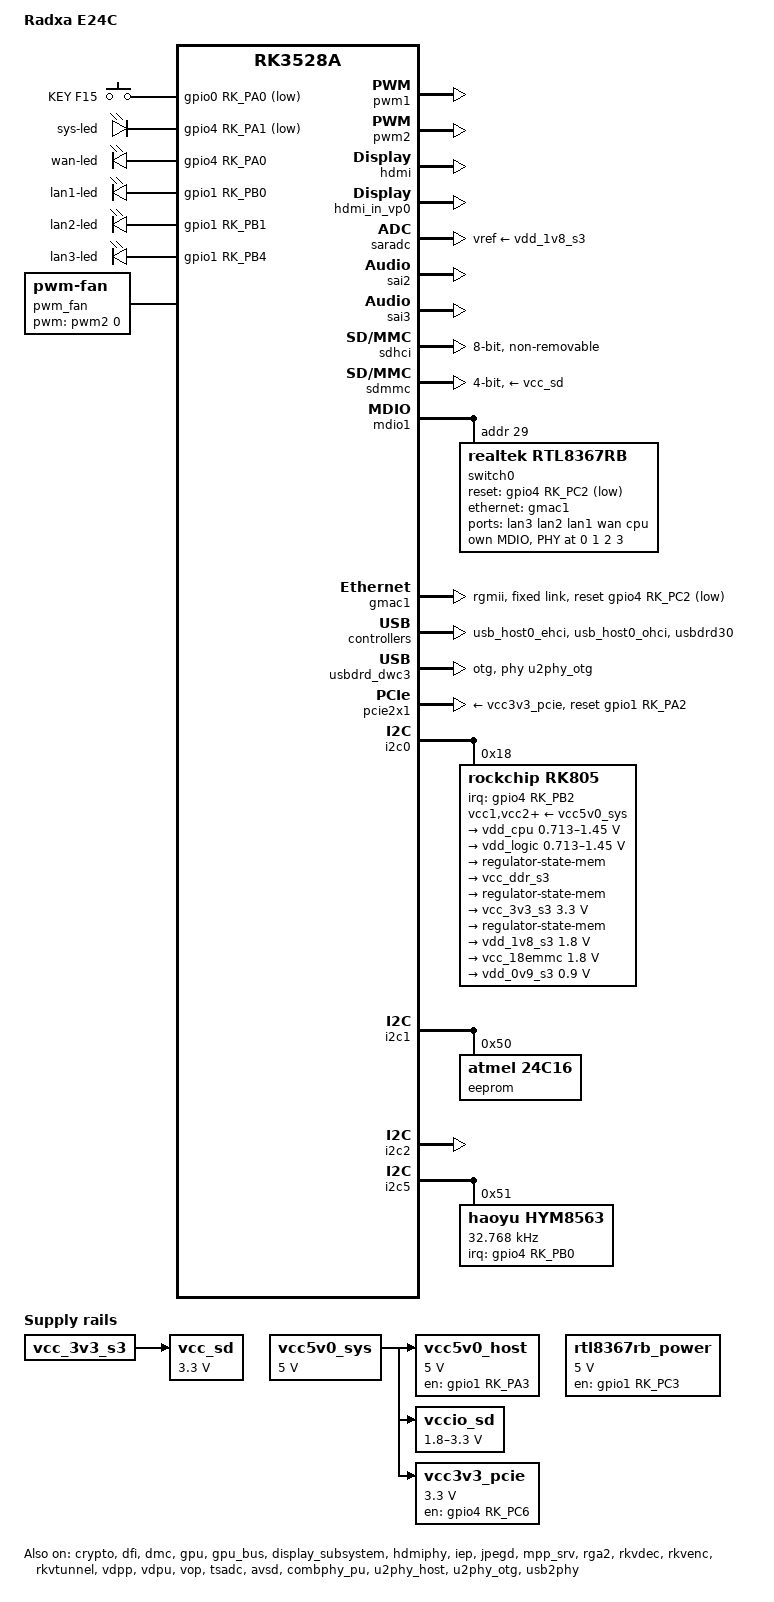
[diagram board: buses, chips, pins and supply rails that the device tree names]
// SPDX-License-Identifier: (GPL-2.0+ OR MIT)
/*
 * Copyright (c) 2022 Rockchip Electronics Co., Ltd.
 * Copyright (c) 2024 Radxa Computer (Shenzhen) Co., Ltd.
 *
 */

/dts-v1/;

#include <dt-bindings/gpio/gpio.h>
#include <dt-bindings/input/rk-input.h>
#include <dt-bindings/pinctrl/rockchip.h>
#include <dt-bindings/pwm/pwm.h>
#include <dt-bindings/thermal/thermal.h>
#include "dt-bindings/usb/pd.h"
#include "rk3528.dtsi"
#include "rk3528-linux.dtsi"

/ {
	model = "Radxa E24C";
	compatible = "radxa,e24c", "radxa,rock-2", "rockchip,rk3528a";

	/delete-node/ chosen;

	aliases {
		mmc0 = &sdhci;
		mmc1 = &sdmmc;
		mmc2 = &sdio0;
	};

	vcc5v0_sys: vcc5v0-sys {
		compatible = "regulator-fixed";
		regulator-name = "vcc5v0_sys";
		regulator-always-on;
		regulator-boot-on;
		regulator-min-microvolt = <5000000>;
		regulator-max-microvolt = <5000000>;
	};

	vcc5v0_host: vcc5v0-host-regulator {
		compatible = "regulator-fixed";
		regulator-name = "vcc5v0_host";
		regulator-boot-on;
		regulator-always-on;
		regulator-min-microvolt = <5000000>;
		regulator-max-microvolt = <5000000>;
		enable-active-high;
		gpio = <&gpio1 RK_PA3 GPIO_ACTIVE_HIGH>;
		vin-supply = <&vcc5v0_sys>;
		pinctrl-names = "default";
		pinctrl-0 = <&vcc5v0_host_en>;
	};

	vccio_sd: vccio-sd {
		compatible = "regulator-gpio";
		regulator-name = "vccio_sd";
		regulator-min-microvolt = <1800000>;
		regulator-max-microvolt = <3300000>;
		gpios = <&gpio4 RK_PB6 GPIO_ACTIVE_HIGH>;
		vin-supply = <&vcc5v0_sys>;
		states = <1800000 0x0
			  3300000 0x1>;
	};

	vcc_sd: vcc-sd {
		compatible = "regulator-fixed";
		regulator-name = "vcc_sd";
		regulator-min-microvolt = <3300000>;
		regulator-max-microvolt = <3300000>;
		vin-supply = <&vcc_3v3_s3>;
	};

	vcc3v3_pcie: vcc3v3-pcie {
		compatible = "regulator-fixed";
		regulator-name = "vcc3v3_pcie";
		regulator-min-microvolt = <3300000>;
		regulator-max-microvolt = <3300000>;
		startup-delay-us = <5000>;
		enable-active-high;
		gpio = <&gpio4 RK_PC6 GPIO_ACTIVE_HIGH>;
		vin-supply = <&vcc5v0_sys>;
	};

	rtl8367rb_power: rtl8367rb-power-regulator {
		compatible = "regulator-fixed";
		regulator-name = "rtl8367rb_power";
		regulator-min-microvolt = <5000000>;
		regulator-max-microvolt = <5000000>;
		enable-active-high;
		regulator-boot-on;
		regulator-always-on;
		gpio = <&gpio1 RK_PC3 GPIO_ACTIVE_HIGH>;
		pinctrl-names = "default";
		pinctrl-0 = <&rtl8367rb_power_en>;
	};

	hdmi_sound: hdmi-sound {
		status = "okay";
		compatible = "simple-audio-card";
		simple-audio-card,format = "i2s";
		simple-audio-card,mclk-fs = <128>;
		simple-audio-card,name = "rockchip-hdmi0";
		simple-audio-card,cpu {
			sound-dai = <&sai3>;
		};
		simple-audio-card,codec {
			sound-dai = <&hdmi>;
		};
	};

	gpio-keys {
		compatible = "gpio-keys";
		pinctrl-names = "default";
		pinctrl-0 = <&user_key>;
		autorepeat;

		user-key {
			label = "KEY F15";
			linux,code = <KEY_F15>;
			gpios = <&gpio0 RK_PA0 GPIO_ACTIVE_LOW>;
			debounce-interval = <100>;
		};
	};

	gpio_leds: gpio-leds {
		compatible = "gpio-leds";
		pinctrl-names = "default";

		sys-led {
			gpios = <&gpio4 RK_PA1 GPIO_ACTIVE_LOW>;
			linux,default-trigger = "heartbeat";
		};

		wan-led {
			gpios = <&gpio4 RK_PA0 GPIO_ACTIVE_HIGH>;
			linux,default-trigger = "netdev";
		};

		lan1-led {
			gpios = <&gpio1 RK_PB0 GPIO_ACTIVE_HIGH>;
			linux,default-trigger = "netdev";
		};

		lan2-led {
			gpios = <&gpio1 RK_PB1 GPIO_ACTIVE_HIGH>;
			linux,default-trigger = "netdev";
		};

		lan3-led {
			gpios = <&gpio1 RK_PB4 GPIO_ACTIVE_HIGH>;
			linux,default-trigger = "netdev";
		};
	};

	pwm_fan: pwm-fan {
		compatible = "pwm-fan";
		#cooling-cells = <2>;
		cooling-min-state = <0>;
		cooling-max-state = <4>;
		cooling-levels = <0 64 128 192 255>;
		pwms = <&pwm2 0 40000 0>;
	};
};

&pwm1 {
	status = "okay";
};

&pwm2 {
	status = "okay";
};

&cpu0 {
	cpu-supply = <&vdd_cpu>;
};

&crypto {
	status = "okay";
};

&dfi {
	status = "okay";
};

&dmc {
	center-supply = <&vdd_logic>;
	status = "okay";
};

&gpu {
	mali-supply = <&vdd_logic>;
	status = "okay";
};

&gpu_bus {
	bus-supply = <&vdd_logic>;
	status = "okay";
};

&display_subsystem {
	status = "okay";
};

&hdmi {
	status = "okay";
};

&hdmi_in_vp0 {
	status = "okay";
};

&hdmiphy {
	status = "okay";
};

&tve {
	status = "disabled";
};

&tve_in_vp1 {
	status = "disabled";
};

&iep {
	status = "okay";
};

&iep_mmu {
	status = "okay";
};

&jpegd {
	status = "okay";
};

&jpegd_mmu {
	status = "okay";
};

&mpp_srv {
	status = "okay";
};

&rga2 {
	status = "okay";
};

&rga2_mmu {
	status = "okay";
};

&rkvdec {
	status = "okay";
};

&rkvdec_mmu {
	status = "okay";
};

&rkvenc {
	status = "okay";
};

&rkvenc_mmu {
	status = "okay";
};

&rkvtunnel {
	status = "okay";
};

&rockchip_suspend {
	status = "okay";
	rockchip,sleep-debug-en = <1>;
	rockchip,sleep-mode-config = <
		(0
		| RKPM_SLP_ARMPD
		)
	>;
	rockchip,wakeup-config = <
		(0
		| RKPM_CPU0_WKUP_EN
		| RKPM_GPIO_WKUP_EN
		| RKPM_USBDEV_WKUP_EN
		)
	>;
	rockchip,pwm-regulator-config = <
		(0
		| RKPM_PWM0_M0_REGULATOR_EN
		| RKPM_PWM1_M0_REGULATOR_EN
		)
	>;
};

&vdpp {
	status = "okay";
};

&vdpu {
	status = "okay";
};

&vdpu_mmu {
	status = "okay";
};

&vop {
	status = "okay";
};

&vop_mmu {
	status = "okay";
};

&tsadc {
	status = "okay";
};

&saradc {
	status = "okay";
	vref-supply = <&vdd_1v8_s3>;
};

&avsd {
	status = "okay";
};

&sai2 {
	status = "okay";
};

&sai3 {
	status = "okay";
};

&sdhci {
	bus-width = <8>;
	no-sd;
	no-sdio;
	non-removable;
	mmc-hs400-1_8v;
	mmc-hs400-enhanced-strobe;
	max-frequency = <200000000>;
	status = "okay";
};

&sdmmc {
	bus-width = <4>;
	cap-mmc-highspeed;
	cap-sd-highspeed;
	disable-wp;
	max-frequency = <150000000>;
	pinctrl-names = "default";
	pinctrl-0 = <&sdmmc_clk &sdmmc_cmd &sdmmc_det &sdmmc_bus4>;
	rockchip,default-sample-phase = <90>;
	supports-sd;
	sd-uhs-sdr12;
	sd-uhs-sdr25;
	sd-uhs-sdr50;
	sd-uhs-sdr104;
	vqmmc-supply = <&vccio_sd>;
	vmmc-supply = <&vcc_sd>;
	status = "okay";
};

&mdio1 {
	switch0: switch0@29 {
		compatible = "realtek,rtl8367rb", "realtek,rtl8365mb";
		#address-cells = <1>;
		#size-cells = <0>;
		reg = <29 0>;
		dsa,member = <1 0>;
		reset = <&gpio4 RK_PC2 GPIO_ACTIVE_LOW>;

		ports {
			#address-cells = <1>;
			#size-cells = <0>;

			port@0 {
				reg = <0>;
				label = "lan3";
				local-mac-address = [00 48 54 20 00 03];
				phy-handle = <&phy0>;
			};

			port@1 {
				reg = <1>;
				label = "lan2";
				local-mac-address = [00 48 54 20 00 02];
				phy-handle = <&phy1>;
			};

			port@2 {
				reg = <2>;
				label = "lan1";
				local-mac-address = [00 48 54 20 00 01];
				phy-handle = <&phy2>;
			};

			port@3 {
				reg = <3>;
				label = "wan";
				local-mac-address = [00 48 54 20 00 00];
				phy-handle = <&phy3>;
			};

			rtl8367rb_cpu_port: port@6 {
				reg = <6>;
				label = "cpu";
				ethernet = <&gmac1>;
				local-mac-address = [00 48 54 20 00 33];
				phy-mode = "rgmii";
				tx-internal-delay-ps = <2000>;
				rx-internal-delay-ps = <2000>;

				fixed-link {
					speed = <1000>;
					full-duplex;
					pause;
				};
			};
		};

		mdio {
			compatible = "realtek,smi-mdio";
			#address-cells = <1>;
			#size-cells = <0>;

			phy0: phy@0 {
				reg = <0>;
			};

			phy1: phy@1 {
				reg = <1>;
			};

			phy2: phy@2 {
				reg = <2>;
			};

			phy3: phy@3 {
				reg = <3>;
			};
		};
	};
};

&gmac1 {
	status = "okay";
	phy-mode = "rgmii";
	clock_in_out = "output";

	snps,reset-gpio = <&gpio4 RK_PC2 GPIO_ACTIVE_LOW>;
	snps,reset-active-low;
	/* Reset time is 20ms, 100ms for rtl8367rb */
	snps,reset-delays-us = <0 20000 100000>;

	pinctrl-names = "default";
	pinctrl-0 = <&rgmii_miim
			&rgmii_tx_bus2
			&rgmii_rx_bus2
			&rgmii_rgmii_clk
			&rgmii_rgmii_bus>;

	tx_delay = <0>;
	rx_delay = <0>;

	fixed-link {
		speed = <1000>;
		full-duplex;
		pause;
	};
};

&combphy_pu {
	status = "okay";
};

&u2phy_host {
	phy-supply = <&vcc5v0_host>;
	status = "okay";
};

&u2phy_otg {
	vbus-supply = <&vcc_3v3_s3>;
	status = "okay";
};

&usb2phy {
	status = "okay";
};

&usb_host0_ehci {
	status = "okay";
};

&usb_host0_ohci {
	status = "okay";
};

&usbdrd30 {
	status = "okay";
};

&usbdrd_dwc3 {
	dr_mode = "otg";
	extcon = <&usb2phy>;
	phys = <&u2phy_otg>;
	phy-names = "usb2-phy";
	maximum-speed = "high-speed";
	snps,dis_u2_susphy_quirk;
	snps,usb2-lpm-disable;
	status = "okay";
};

&pcie2x1 {
	reset-gpios = <&gpio1 RK_PA2 GPIO_ACTIVE_HIGH>;
	vpcie3v3-supply = <&vcc3v3_pcie>;
	status = "okay";
};

&i2c0 {
	status = "okay";

	rk805: rk805@18 {
		compatible = "rockchip,rk805";
		status = "okay";
		reg = <0x18>;
		interrupt-parent = <&gpio4>;
		interrupts = <RK_PB2 IRQ_TYPE_LEVEL_LOW>;
		pinctrl-names = "default";
		pinctrl-0 = <&pmic_int_l>;
		wakeup-source;
		gpio-controller;
		#gpio-cells = <2>;
		#clock-cells = <1>;
		clock-output-names = "rk805-clkout1", "rk805-clkout2";
		rockchip,system-power-controller;

		vcc1-supply = <&vcc5v0_sys>;
		vcc2-supply = <&vcc5v0_sys>;
		vcc3-supply = <&vcc5v0_sys>;
		vcc4-supply = <&vcc5v0_sys>;
		vcc5-supply = <&vcc5v0_sys>;
		vcc6-supply = <&vcc5v0_sys>;

		rtc {
			status = "disabled";
		};

		pwrkey {
			status = "okay";
		};

		gpio {
			status = "disabled";
		};

		regulators {
			vdd_cpu: DCDC_REG1 {
				regulator-name = "vdd_cpu";
				regulator-min-microvolt = <712500>;
				regulator-max-microvolt = <1450000>;
				regulator-init-microvolt = <953000>;
				regulator-initial-mode = <0x1>;
				regulator-ramp-delay = <12500>;
				regulator-boot-on;
				regulator-always-on;
				regulator-state-mem {
					regulator-on-in-suspend;
				};
			};

			vdd_logic: DCDC_REG2 {
				regulator-name = "vdd_logic";
				regulator-min-microvolt = <712500>;
				regulator-max-microvolt = <1450000>;
				regulator-init-microvolt = <900000>;
				regulator-initial-mode = <0x1>;
				regulator-ramp-delay = <12500>;
				regulator-boot-on;
				regulator-always-on;
				regulator-state-mem {
					regulator-mode = <0x2>;
					regulator-on-in-suspend;
					regulator-suspend-microvolt = <712500>;
				};
			};

			vcc_ddr_s3: DCDC_REG3 {
				regulator-name = "vcc_ddr_s3";
				regulator-initial-mode = <0x1>;
				regulator-boot-on;
				regulator-always-on;
				regulator-state-mem {
					regulator-mode = <0x2>;
					regulator-on-in-suspend;
				};
			};

			vcc_3v3_s3: DCDC_REG4 {
				regulator-name = "vcc_3v3_s3";
				regulator-min-microvolt = <3300000>;
				regulator-max-microvolt = <3300000>;
				regulator-initial-mode = <0x1>;
				regulator-boot-on;
				regulator-always-on;
				regulator-state-mem {
					regulator-mode = <0x2>;
					regulator-on-in-suspend;
					regulator-suspend-microvolt = <3300000>;
				};
			};

			vdd_1v8_s3: LDO_REG1 {
				regulator-name = "vdd_1v8_s3";
				regulator-min-microvolt = <1800000>;
				regulator-max-microvolt = <1800000>;
				regulator-boot-on;
				regulator-always-on;
				regulator-state-mem {
					regulator-on-in-suspend;
					regulator-suspend-microvolt = <1800000>;
				};
			};

			vcc_18emmc: LDO_REG2 {
				regulator-name = "vcc_18emmc";
				regulator-min-microvolt = <1800000>;
				regulator-max-microvolt = <1800000>;
				regulator-boot-on;
				regulator-always-on;
				regulator-state-mem {
					regulator-on-in-suspend;
					regulator-suspend-microvolt = <1800000>;
				};
			};

			vdd_0v9_s3: LDO_REG3 {
				regulator-name = "vdd_0v9_s3";
				regulator-min-microvolt = <900000>;
				regulator-max-microvolt = <900000>;
				regulator-boot-on;
				regulator-always-on;
				regulator-state-mem {
					regulator-on-in-suspend;
					regulator-suspend-microvolt = <900000>;
				};
			};
		};
	};
};

&i2c1 {
	status = "okay";
	pinctrl-names = "default";
	pinctrl-0 = <&i2c1m0_xfer>;

	eeprom:	bl24c16@50 {
		status = "okay";
		compatible = "atmel,24c16";
		reg = <0x50>;
		pagesize = <16>;
	};
};

&i2c2 {
	status = "okay";
	pinctrl-names = "default";
	pinctrl-0 = <&i2c2m1_xfer>;
};

&i2c5 {
	status = "okay";
	pinctrl-names = "default";
	pinctrl-0 = <&i2c5m0_xfer>;

	hym8563: hym8563@51 {
		compatible = "haoyu,hym8563";
		reg = <0x51>;
		#clock-cells = <0>;
		clock-frequency = <32768>;
		clock-output-names = "hym8563";
		pinctrl-names = "default";
		pinctrl-0 = <&hym8563_int>;
		interrupt-parent = <&gpio4>;
		interrupts = <RK_PB0 IRQ_TYPE_LEVEL_LOW>;
		wakeup-source;
	};
};

&threshold {
	temperature = <50000>;
};

&soc_thermal {
	sustainable-power = <5000>; /* milliwatts */
	cooling-maps {
		map2 {
			trip = <&target>;
			cooling-device = <&pwm_fan THERMAL_NO_LIMIT THERMAL_NO_LIMIT>;
			contribution = <8192>;
		};
		map3 {
			trip = <&threshold>;
			cooling-device = <&pwm_fan THERMAL_NO_LIMIT THERMAL_NO_LIMIT>;
			contribution = <8192>;
		};
	};
};

&pinctrl {
	pmic {
		pmic_int_l: pmic-int-l {
			rockchip,pins =
				<4 RK_PB2 RK_FUNC_GPIO &pcfg_pull_up>;
		};
	};

	usb {
		vcc5v0_host_en: vcc5v0-host-en {
			rockchip,pins =
				<1 RK_PA3 RK_FUNC_GPIO &pcfg_pull_none>;
		};
	};

	wifi-bt {
		vcc_wifibt_en: vcc-wifibt-en {
			rockchip,pins =
				<4 RK_PA4 RK_FUNC_GPIO &pcfg_pull_none>;
		};
	};

	keys {
		user_key: user-key {
			rockchip,pins =
				<0 RK_PA0 RK_FUNC_GPIO &pcfg_pull_up>;
		};
	};

	rtl8367rb {
		rtl8367rb_power_en: rtl8367rb-power-en {
			rockchip,pins =
				<1 RK_PC3 RK_FUNC_GPIO &pcfg_pull_none>;
		};
	};

	hym8563 {
		hym8563_int: hym8563-int {
			rockchip,pins =
				<4 RK_PB0 RK_FUNC_GPIO &pcfg_pull_none>;
		};
	};

	sdmmc {
		sdmmc-clk {
			rockchip,pins =
				/* sdmmc_clk */
				<2 RK_PA5 1 &pcfg_pull_up_drv_level_3>;
		};
	};
};

&gpio0 {
	gpio-line-names =
		/* GPIO0_A0-A3 */
		"", "", "", "",
		/* GPIO0_A4-A7 */
		"", "", "", "",

		/* GPIO0_B0-B3 */
		"", "", "", "",
		/* GPIO0_B4-B7 */
		"", "", "", "",

		/* GPIO0_C0-C3 */
		"", "", "", "",
		/* GPIO0_C4-C7 */
		"", "", "", "",

		/* GPIO0_D0-D3 */
		"", "", "", "",
		/* GPIO0_D4-D7 */
		"", "", "", "";
};

&gpio1 {
	gpio-line-names =
		/* GPIO1_A0-A3 */
		"", "", "", "",
		/* GPIO1_A4-A7 */
		"", "", "", "",

		/* GPIO1_B0-B3 */
		"", "", "PIN_5", "PIN_3",
		/* GPIO1_B4-B7 */
		"", "", "PIN_11", "PIN_7",

		/* GPIO1_C0-C3 */
		"PIN_9", "PIN_13", "", "",
		/* GPIO1_C4-C7 */
		"", "", "", "",

		/* GPIO1_D0-D3 */
		"", "", "", "",
		/* GPIO1_D4-D7 */
		"", "", "", "";
};

&gpio2 {
	gpio-line-names =
		/* GPIO2_A0-A3 */
		"", "", "", "",
		/* GPIO2_A4-A7 */
		"", "", "", "",

		/* GPIO2_B0-B3 */
		"", "", "", "",
		/* GPIO2_B4-B7 */
		"", "", "", "",

		/* GPIO2_C0-C3 */
		"", "", "", "",
		/* GPIO2_C4-C7 */
		"", "", "", "",

		/* GPIO2_D0-D3 */
		"", "", "", "",
		/* GPIO2_D4-D7 */
		"", "", "", "";
};

&gpio3 {
	gpio-line-names =
		/* GPIO3_A0-A3 */
		"", "", "", "",
		/* GPIO3_A4-A7 */
		"", "", "", "",

		/* GPIO3_B0-B3 */
		"", "", "", "",
		/* GPIO3_B4-B7 */
		"", "", "", "",

		/* GPIO3_C0-C3 */
		"", "", "", "",
		/* GPIO3_C4-C7 */
		"", "", "", "",

		/* GPIO3_D0-D3 */
		"", "", "", "",
		/* GPIO3_D4-D7 */
		"", "", "", "";
};

&gpio4 {
	gpio-line-names =
		/* GPIO4_A0-A3 */
		"", "", "", "",
		/* GPIO4_A4-A7 */
		"PIN_6", "PIN_8", "PIN_10", "PIN_14",

		/* GPIO4_B0-B3 */
		"", "", "", "",
		/* GPIO4_B4-B7 */
		"PIN_12", "", "", "",

		/* GPIO4_C0-C3 */
		"", "", "", "",
		/* GPIO4_C4-C7 */
		"", "", "", "",

		/* GPIO4_D0-D3 */
		"", "", "", "",
		/* GPIO4_D4-D7 */
		"", "", "", "";
};
